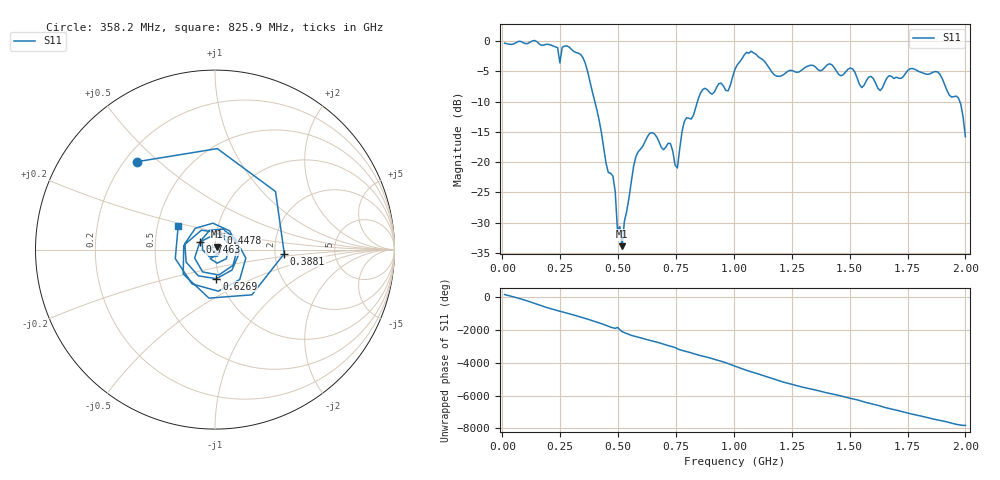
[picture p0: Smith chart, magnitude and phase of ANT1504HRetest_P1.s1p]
!Created with skrf (http://scikit-rf.org).
# Hz S RI R 50.0
!freq ReS11 ImS11
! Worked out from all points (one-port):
!   201 points, 10 MHz to 2 GHz, reference 50 ohm
!   lowest |S11| = -33.9 dB at 517.5 MHz (marker M1), VSWR 1.04, Z = 51.3 + j1.6 ohm
!   |S11| at or under -10 dB: 399.7 MHz to 842.9 MHz (443.3 MHz wide, 71.3 % of centre); 1.976 GHz to end of sweep
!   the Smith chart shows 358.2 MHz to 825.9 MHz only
!   S11 on the Smith chart (normalised r, x): 358.2 MHz: 0.25, +0.43; 388.1 MHz: 2.25, -0.12; 447.8 MHz: 1.04, +0.20; 626.9 MHz: 0.96, -0.32; 746.3 MHz: 0.84, +0.07; 825.9 MHz: 0.64, +0.18
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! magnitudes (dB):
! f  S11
! 10 MHz  -0.4
! 248.8 MHz  -3.6
! 258.8 MHz  -1.0
! 358.2 MHz  -3.7
! 388.1 MHz  -8.3
! 447.8 MHz  -20.1
! 477.6 MHz  -22.3
! 497.6 MHz  -31.3
! 507.5 MHz  -30.6
! 517.5 MHz  -33.9
! 567.2 MHz  -20.7
! 626.9 MHz  -15.8
! 726.4 MHz  -17.0
! 746.3 MHz  -20.5
! 756.2 MHz  -21.0
! 786.1 MHz  -13.3
! 825.9 MHz  -12.2
! 865.7 MHz  -8.0
! 975.1 MHz  -8.2
! 1.005 GHz  -4.6
! 1.075 GHz  -1.7
! 1.254 GHz  -4.9
! 1.502 GHz  -4.5
! 1.632 GHz  -8.2
! 1.751 GHz  -4.9
! 1.891 GHz  -5.5
! 1.97 GHz  -9.4
! 2 GHz  -15.8
